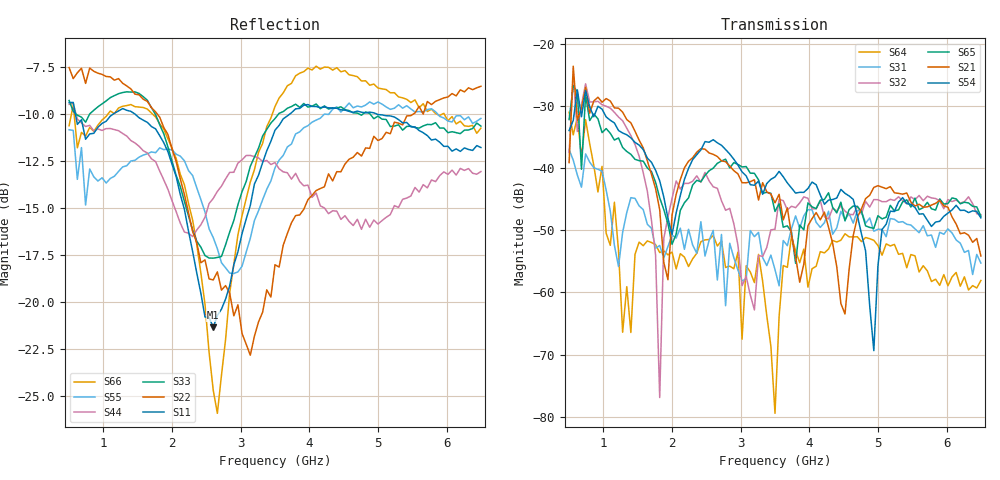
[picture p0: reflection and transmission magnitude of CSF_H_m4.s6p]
!Keysight Technologies,M9804A,MY58100912,A.14.10.03
!Date: Thursday, April 27, 2023 10:28:33
!Correction: S11(C  6-Port  )
!S12(C  6-Port  )
!S13(C  6-Port  )
!S14(C  6-Port  )
!S15(C  6-Port  )
!S16(C  6-Port  )
!S21(C  6-Port  )
!S22(C  6-Port  )
!S23(C  6-Port  )
!S24(C  6-Port  )
!S25(C  6-Port  )
!S26(C  6-Port  )
!S31(C  6-Port  )
!S32(C  6-Port  )
!S33(C  6-Port  )
!S34(C  6-Port  )
!S35(C  6-Port  )
!S36(C  6-Port  )
!S41(C  6-Port  )
!S42(C  6-Port  )
!S43(C  6-Port  )
!S44(C  6-Port  )
!S45(C  6-Port  )
!S46(C  6-Port  )
!S51(C  6-Port  )
!S52(C  6-Port  )
!S53(C  6-Port  )
!S54(C  6-Port  )
!S55(C  6-Port  )
!S56(C  6-Port  )
!S61(C  6-Port  )
!S62(C  6-Port  )
!S63(C  6-Port  )
!S64(C  6-Port  )
!S65(C  6-Port  )
!S66(C  6-Port  )
!S6P File: Measurement: :
# Hz S  RI  R 50
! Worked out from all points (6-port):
!   101 points, 500 MHz to 6.5 GHz, reference 50 ohm
!   strongest paths, dB at 500 MHz, 2 GHz, 3.5 GHz, 5 GHz, 6.5 GHz:
!     S54: -33.9, -50.7, -41.4, -55.7, -48.0
!     S21: -39.1, -47.5, -45.6, -42.8, -54.1
!     S65: -32.2, -52.2, -47.0, -47.6, -47.7
!     S32: -37.5, -44.8, -49.8, -45.1, -47.5
!     S31: -37.0, -50.8, -56.3, -49.8, -55.3
!     S64: -31.0, -53.5, -79.5, -52.4, -58.1
!   lowest |S11| = -21.3 dB at 2.6 GHz (marker M1), VSWR 1.19, Z = 42.4 + j2.29 ohm
!   |S11| at or under -10 dB: 592.6 MHz to 1.136 GHz (543.9 MHz wide, 62.9 % of centre); 1.464 GHz to 3.709 GHz (2.245 GHz wide, 86.8 % of centre); 4.995 GHz to end of sweep
